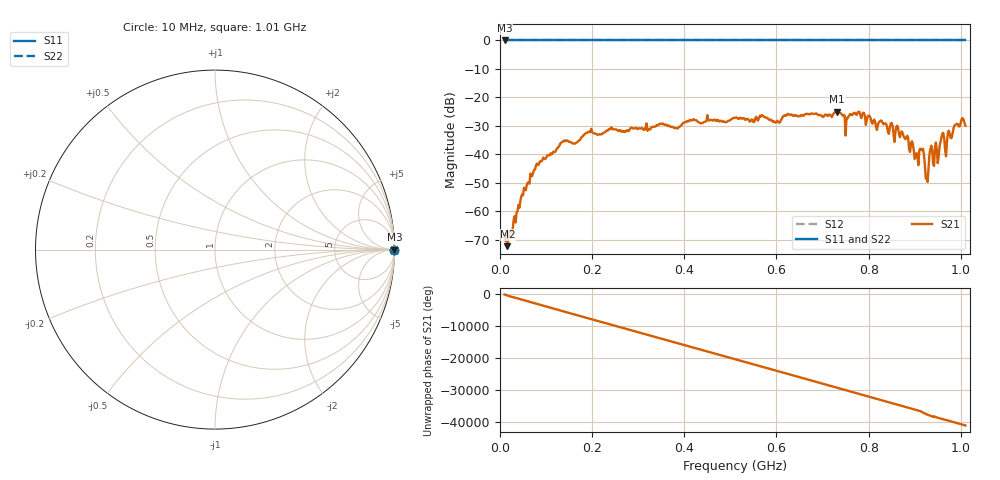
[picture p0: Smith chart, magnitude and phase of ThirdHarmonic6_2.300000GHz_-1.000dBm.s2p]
! 8/17/2025 3:07:09 AM
! C:\ANRITSUVNA\TEMP\TEMP.S2P
! CHANNEL.1
! TR.MEASUREMENT
! RAW.DATA
! RF.CORRECTION.OFF
! AVERAGING.OFF
! IF.BANDWIDTH: 5KHZ
! SWEEPTYPE:  FREQ.SWEEP(Linear)
! Reference Plane Port Info
! PORT:  PORT1  PORT2
! DISTANCE:  0  m  0  m
! TIME:  0  s  0  s
! PHASE.OFFSET:  0  deg.  0  deg.
! LOSS:  0  dB  0  dB
! REF.LOSS:  0  dB  0  dB
! REF.FREQ:  0  Hz  0  Hz
! Power Info
! POWER:  -20  dBm  -20  dBm
! EFF.POWER:  -20  dBm  -20  dBm
! SOURCE.ATTEN:  0  dB  0  dB
! TEST.ATTEN:  0  dB  0  dB
# GHZ S RI R 50.0
! FREQ.GHZ  S11RE  S11IM  S21RE  S21IM  S12RE  S12IM  S22RE  S22IM
!; PortSelection: Port_12
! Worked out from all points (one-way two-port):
!   501 points, 10 MHz to 1.01 GHz, reference 50 ohm
!   highest |S21| = -25.02 dB at 732 MHz (marker M1); lowest = -72.3 dB at 16 MHz (marker M2)
!   lowest |S11| = 0.0 dB at 10 MHz (marker M3)
!   |S11| at or under -10 dB: nowhere
!   |S22| runs from 0.0 to 0.0 dB; largest |S21 - S12| = 1.1
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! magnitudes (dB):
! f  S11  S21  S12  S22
! 10 MHz  0.0  -69.4  0.0  0.0
! 16 MHz  0.0  -72.3  0.0  0.0
! 50 MHz  0.0  -54.4  0.0  0.0
! 82 MHz  0.0  -43.7  0.0  0.0
! 136 MHz  0.0  -35.7  0.0  0.0
! 178 MHz  0.0  -33.9  0.0  0.0
! 344 MHz  0.0  -29.6  0.0  0.0
! 510 MHz  0.0  -27.2  0.0  0.0
! 602 MHz  0.0  -28.3  0.0  0.0
! 678 MHz  0.0  -25.7  0.0  0.0
! 732 MHz  0.0  -25.0  0.0  0.0
! 844 MHz  0.0  -32.8  0.0  0.0
! 882 MHz  0.0  -34.0  0.0  0.0
! 904 MHz  0.0  -39.6  0.0  0.0
! 916 MHz  0.0  -38.5  0.0  0.0
! 926 MHz  0.0  -48.7  0.0  0.0
! 934 MHz  0.0  -38.2  0.0  0.0
! 952 MHz  0.0  -40.7  0.0  0.0
! 960 MHz  0.0  -32.7  0.0  0.0
! 968 MHz  0.0  -40.7  0.0  0.0
! 988 MHz  0.0  -29.7  0.0  0.0
! 1.01 GHz  0.0  -30.0  0.0  0.0
